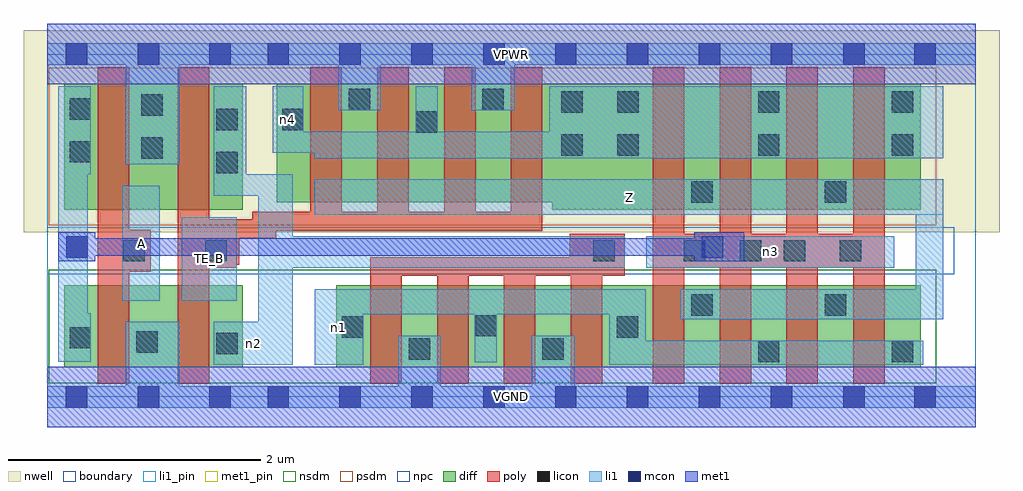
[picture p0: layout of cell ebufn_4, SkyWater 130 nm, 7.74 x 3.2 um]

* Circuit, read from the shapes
.subckt ebufn_4 A TE_B VGND VPWR Z n1 n2 n3 n4
XM1 VGND A n3 VSUBS sky130_fd_pr__nfet_01v8 w=0.65 l=0.25
XM2 n2 TE_B VGND VSUBS sky130_fd_pr__nfet_01v8 w=0.65 l=0.25
XM3 VGND n2 n1 VSUBS sky130_fd_pr__nfet_01v8 w=0.65 l=0.25 m=4
XM4 Z n3 n1 VSUBS sky130_fd_pr__nfet_01v8 w=0.65 l=0.25 m=4
XM5 VPWR A n3 n5 sky130_fd_pr__pfet_01v8 w=1 l=0.25
XM6 n2 TE_B VPWR n5 sky130_fd_pr__pfet_01v8 w=1 l=0.25
XM7 VPWR TE_B n4 n5 sky130_fd_pr__pfet_01v8 w=0.94 l=0.25 m=4
XM8 Z n3 n4 n5 sky130_fd_pr__pfet_01v8 w=1 l=0.25 m=4
.ends

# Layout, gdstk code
import gdstk
lib = gdstk.Library(unit=1e-6, precision=1e-09)
def R(c, l, rs):  # rectangles x0, y0, x1, y1
    for r in rs: c.add(gdstk.rectangle(r[:2], r[2:], *l))
def A(c, l, x, y, w, h, nx, ny, dx, dy):  # array of equal rectangles
    R(c, l, [(x+i*dx, y+j*dy, x+i*dx+w, y+j*dy+h) for i in range(nx) for j in range(ny)])
nwell = (64, 20)
diff = (65, 20)
poly = (66, 20)
licon = (66, 44)
li1_pin = (67, 16)
li1 = (67, 20)
mcon = (67, 44)
met1_pin = (68, 16)
met1 = (68, 20)
nsdm = (93, 44)
psdm = (94, 20)
npc = (95, 20)
boundary = (235, 4)

ebufn_4 = lib.new_cell('ebufn_4')
R(ebufn_4, nwell, [(-0.19,1.305,7.55,2.91), (0,1.305,7.36,2.91)])
R(ebufn_4, diff, [(0.135,0.235,1.55,0.885), (2.29,0.235,6.925,0.885), (0.135,1.485,1.55,2.485), (4.005,1.485,6.925,2.485), (1.82,1.545,6.925,2.485)])
A(ebufn_4, poly, 2.56, 0.105, 0.25, 1.005, 3, 1, 0.53, 0)
A(ebufn_4, poly, 4.8, 0.105, 0.25, 2.51, 4, 1, 0.53, 0)
A(ebufn_4, poly, 2.085, 1.32, 0.25, 1.295, 4, 1, 0.53, 0)
R(ebufn_4, poly, [(0.4,0.105,0.65,2.615), (1.035,0.105,1.285,2.615), (4.15,0.105,4.4,1.295), (2.56,0.96,4.58,1.11), (4.14,0.96,4.58,1.295), (0.4,0.995,0.82,1.325), (1.035,1.025,1.5,1.41), (4.8,1.025,6.64,1.295), (1.035,1.05,1.52,1.41), (1.035,1.26,1.815,1.41), (1.625,1.32,3.925,1.47)])
R(ebufn_4, licon, [(5.635,0.275,5.805,0.445), (6.695,0.275,6.865,0.445), (2.865,0.295,3.035,0.465), (3.925,0.295,4.095,0.465), (1.34,0.34,1.51,0.51), (0.705,0.35,0.875,0.52), (0.175,0.385,0.345,0.555), (2.335,0.47,2.505,0.64), (4.515,0.47,4.685,0.64), (3.395,0.48,3.565,0.65), (5.105,0.645,5.275,0.815), (6.165,0.645,6.335,0.815), (0.6,1.075,0.77,1.245), (1.25,1.075,1.42,1.245), (4.33,1.075,4.5,1.245), (5.045,1.075,5.215,1.245), (5.49,1.075,5.66,1.245), (5.84,1.075,6.01,1.245), (6.285,1.075,6.455,1.245), (5.105,1.54,5.275,1.71), (6.165,1.54,6.335,1.71), (1.34,1.775,1.51,1.945), (0.175,1.86,0.345,2.03), (0.745,1.89,0.915,2.06), (4.075,1.915,4.245,2.085), (4.52,1.915,4.69,2.085), (5.635,1.915,5.805,2.085), (6.695,1.915,6.865,2.085), (2.92,2.095,3.09,2.265), (1.34,2.115,1.51,2.285), (1.86,2.115,2.03,2.285), (0.175,2.2,0.345,2.37), (0.745,2.23,0.915,2.4), (4.075,2.255,4.245,2.425), (4.52,2.255,4.69,2.425), (5.635,2.255,5.805,2.425), (6.695,2.255,6.865,2.425), (2.39,2.275,2.56,2.445), (3.45,2.275,3.62,2.445)])
R(ebufn_4, li1_pin, [(0.595,0.765,0.89,1.675), (1.065,0.765,1.5,1.425), (2.12,1.445,7.105,1.725)])
R(ebufn_4, li1, [(0,-0.085,7.36,0.085), (0.62,-0.085,1.045,0.595), (2.78,-0.085,3.12,0.485), (3.84,-0.085,4.18,0.485), (1.32,0.255,1.945,0.595), (1.67,0.255,1.945,1.765), (2.12,0.255,2.505,0.855), (4.455,0.255,6.945,0.445), (4.455,0.255,4.745,0.855), (3.39,0.275,3.565,0.855), (0.085,0.28,0.32,2.465), (0.085,0.28,0.345,0.665), (5.02,0.615,7.105,0.855), (6.885,0.615,7.105,1.725), (2.12,0.655,4.745,0.855), (0.595,0.765,0.89,1.675), (1.065,0.765,1.5,1.425), (1.67,1.025,4.58,1.275), (4.75,1.025,6.715,1.275), (2.12,1.445,7.105,1.725), (1.32,1.595,1.575,2.465), (1.32,1.595,1.945,1.765), (0.085,1.765,0.345,2.465), (0.62,1.845,1.045,2.805), (2.12,1.895,7.105,2.105), (2.92,1.895,3.095,2.465), (3.98,1.895,7.105,2.465), (1.785,1.935,2.03,2.465), (1.785,1.935,7.105,2.105), (2.305,2.275,2.645,2.805), (3.365,2.275,3.705,2.805), (0,2.635,7.36,2.805)])
A(ebufn_4, mcon, 0.145, -0.085, 0.17, 0.17, 3, 2, 0.57, 2.72)
A(ebufn_4, mcon, 1.745, -0.085, 0.17, 0.17, 8, 2, 0.57, 2.72)
R(ebufn_4, mcon, [(6.31,-0.085,6.48,0.085), (6.875,-0.085,7.045,0.085), (0.15,1.105,0.32,1.275), (5.19,1.105,5.36,1.275), (6.31,2.635,6.48,2.805), (6.875,2.635,7.045,2.805)])
R(ebufn_4, met1_pin, [(0,-0.24,7.36,0.24), (0,2.48,7.36,2.96)])
R(ebufn_4, met1, [(0,-0.24,7.36,0.24), (0.085,1.075,0.38,1.305), (5.13,1.075,5.525,1.305), (0.085,1.12,5.525,1.26), (0,2.48,7.36,2.96)])
R(ebufn_4, nsdm, [(0.01,0.11,7.05,1.01)])
R(ebufn_4, psdm, [(0.01,1.36,7.05,2.61)])
R(ebufn_4, npc, [(0,0.975,7.19,1.345)])
R(ebufn_4, boundary, [(0,0,7.36,2.72)])
ebufn_4.add(gdstk.Label('A', (0.742,1.22), layer=67, texttype=5))
ebufn_4.add(gdstk.Label('TE_B', (1.282,1.095), layer=67, texttype=5))
ebufn_4.add(gdstk.Label('Z', (4.612,1.585), layer=67, texttype=5))
ebufn_4.add(gdstk.Label('n1', (2.312,0.555), layer=67, texttype=5))
ebufn_4.add(gdstk.Label('n3', (5.732,1.15), layer=67, texttype=5))
ebufn_4.add(gdstk.Label('n2', (1.632,0.425), layer=67, texttype=5))
ebufn_4.add(gdstk.Label('n4', (1.907,2.2), layer=67, texttype=5))
ebufn_4.add(gdstk.Label('VPWR', (3.68,2.72), layer=68, texttype=5))
ebufn_4.add(gdstk.Label('VGND', (3.68,0), layer=68, texttype=5))
ebufn_4.add(gdstk.Label('A', (0.742,1.22), layer=67, texttype=16))
ebufn_4.add(gdstk.Label('TE_B', (1.282,1.095), layer=67, texttype=16))
ebufn_4.add(gdstk.Label('Z', (4.612,1.585), layer=67, texttype=16))
ebufn_4.add(gdstk.Label('VPWR', (3.68,2.72), layer=68, texttype=16))
ebufn_4.add(gdstk.Label('VGND', (3.68,0), layer=68, texttype=16))

lib.write_gds('ebufn_4.gds')
